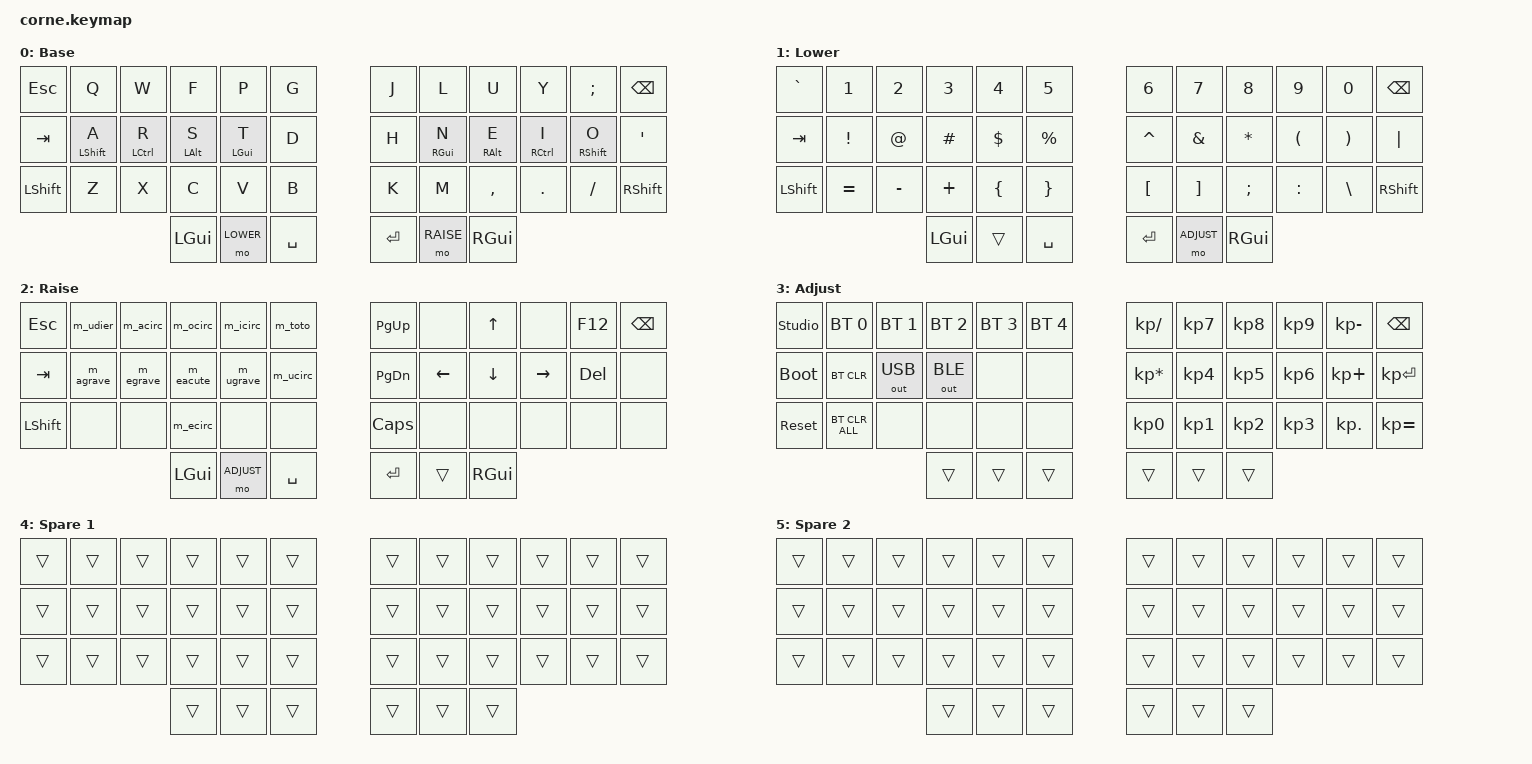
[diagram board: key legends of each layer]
#include <behaviors.dtsi>
#include <dt-bindings/zmk/keys.h>
#include <dt-bindings/zmk/bt.h>
#include <dt-bindings/zmk/outputs.h>

#define DEFAULT 0
#define LOWER   1
#define RAISE   2
#define ADJUST  3

// Positions physiques du Corne (42 touches), utilisees par les home row mods.
#define KEYS_L  0  1  2  3  4  5 12 13 14 15 16 17 24 25 26 27 28 29
#define KEYS_R  6  7  8  9 10 11 18 19 20 21 22 23 30 31 32 33 34 35
#define THUMBS 36 37 38 39 40 41

// Chip select du nice!view : D8, pas D1.
//
// Le shield nice_view_adapter de ZMK suppose que le CS a ete bricole sur
// &pro_micro 1 (D1 = P0.06). Son README le dit et prevoit le cas :
// "If you can't use this pin, you'll need to override the cs-gpios for the
// &nice_view_spi bus (in your zmk-config keymap for example)".
//
// Le PCB Corne de Mechboards le route sur D8 (&pro_micro 8 = P1.04). Leur
// propre config fait exactement cette surcharge
// (MechboardsLTD/zmk-config, branche kits, config/corne.keymap).
//
// Sans elle, le firmware bascule un CS sur une broche qui ne va nulle part :
// le driver ls0xx emet des trames 160x68 parfaites sur SCK et MOSI, la dalle
// n'est jamais selectionnee et les ignore toutes. C'est precisement ce que
// montrait le log -- ls0xx_write en boucle, aucune erreur LVGL, ecran noir --
// et pourquoi un LCD a memoire y gardait les restes du firmware Mechboards.
&nice_view_spi {
    cs-gpios = <&pro_micro 8 GPIO_ACTIVE_HIGH>;
};

/ {
    behaviors {
        // Home row mods. Le maintien ne declenche le modificateur que si la
        // touche suivante est sur l'AUTRE main (ou un pouce) : c'est ce qui
        // evite les faux positifs quand on roule sur A-R-S-T.
        //
        // Attention, cette garantie a une limite : la liste positionnelle
        // n'est consultee que s'il y a une touche suivante AVANT la fin du
        // tapping term. Passe ce delai, le timeout tranche seul, et
        // flavor = "balanced" resout un timeout en hold. Un roulement lent
        // sur une seule main (I-O-N, tous les trois des hmr) declenche donc
        // les modificateurs malgre hold-trigger-key-positions. D'ou 300 ms
        // et non 200 : le tapping term doit couvrir le plus grand ecart
        // entre deux frappes a l'interieur d'un mot.
        hml: home_row_mod_left {
            compatible = "zmk,behavior-hold-tap";
            #binding-cells = <2>;
            flavor = "balanced";
            tapping-term-ms = <300>;
            quick-tap-ms = <175>;
            require-prior-idle-ms = <150>;
            bindings = <&kp>, <&kp>;
            hold-trigger-key-positions = <KEYS_R THUMBS>;
            hold-trigger-on-release;
        };

        hmr: home_row_mod_right {
            compatible = "zmk,behavior-hold-tap";
            #binding-cells = <2>;
            flavor = "balanced";
            tapping-term-ms = <300>;
            quick-tap-ms = <175>;
            require-prior-idle-ms = <150>;
            bindings = <&kp>, <&kp>;
            hold-trigger-key-positions = <KEYS_L THUMBS>;
            hold-trigger-on-release;
        };
    };

    // Macros d'accents : macOS, disposition systeme U.S.
    //
    // Option est pressee dans un rapport HID separe de la lettre : envoyer
    // LA(x) en un seul rapport fait rater la touche morte sous macOS.
    //   Option + E -> aigu         Option + ` -> grave
    //   Option + I -> circonflexe  Option + U -> trema
    //
    // e-aigu utilise l'Option DROITE. C'est le seul accent pose au-dessus d'un
    // home row mod qui porte le meme modificateur (position 15 = &hml LALT S),
    // et c'est le seul qui ne sortait pas. RALT supprime le recouvrement.
    macros {
        m_eacute: m_eacute {      // e aigu     Option DROITE + E puis e
            compatible = "zmk,behavior-macro";
            #binding-cells = <0>;
            wait-ms = <10>;
            tap-ms = <10>;
            bindings = <&macro_press &kp RALT>
                     , <&macro_tap &kp E>
                     , <&macro_release &kp RALT>
                     , <&macro_tap &kp E>;
        };

        m_egrave: m_egrave {      // e grave    Option+` puis e
            compatible = "zmk,behavior-macro";
            #binding-cells = <0>;
            wait-ms = <10>;
            tap-ms = <10>;
            bindings = <&macro_press &kp LALT>
                     , <&macro_tap &kp GRAVE>
                     , <&macro_release &kp LALT>
                     , <&macro_tap &kp E>;
        };

        m_ecirc: m_ecirc {      // e circ     Option+i puis e
            compatible = "zmk,behavior-macro";
            #binding-cells = <0>;
            wait-ms = <10>;
            tap-ms = <10>;
            bindings = <&macro_press &kp LALT>
                     , <&macro_tap &kp I>
                     , <&macro_release &kp LALT>
                     , <&macro_tap &kp E>;
        };

        m_agrave: m_agrave {      // a grave    Option+` puis a
            compatible = "zmk,behavior-macro";
            #binding-cells = <0>;
            wait-ms = <10>;
            tap-ms = <10>;
            bindings = <&macro_press &kp LALT>
                     , <&macro_tap &kp GRAVE>
                     , <&macro_release &kp LALT>
                     , <&macro_tap &kp A>;
        };

        m_acirc: m_acirc {      // a circ     Option+i puis a
            compatible = "zmk,behavior-macro";
            #binding-cells = <0>;
            wait-ms = <10>;
            tap-ms = <10>;
            bindings = <&macro_press &kp LALT>
                     , <&macro_tap &kp I>
                     , <&macro_release &kp LALT>
                     , <&macro_tap &kp A>;
        };

        m_icirc: m_icirc {      // i circ     Option+i puis i
            compatible = "zmk,behavior-macro";
            #binding-cells = <0>;
            wait-ms = <10>;
            tap-ms = <10>;
            bindings = <&macro_press &kp LALT>
                     , <&macro_tap &kp I>
                     , <&macro_release &kp LALT>
                     , <&macro_tap &kp I>;
        };

        m_ocirc: m_ocirc {      // o circ     Option+i puis o
            compatible = "zmk,behavior-macro";
            #binding-cells = <0>;
            wait-ms = <10>;
            tap-ms = <10>;
            bindings = <&macro_press &kp LALT>
                     , <&macro_tap &kp I>
                     , <&macro_release &kp LALT>
                     , <&macro_tap &kp O>;
        };

        m_ugrave: m_ugrave {      // u grave    Option+` puis u
            compatible = "zmk,behavior-macro";
            #binding-cells = <0>;
            wait-ms = <10>;
            tap-ms = <10>;
            bindings = <&macro_press &kp LALT>
                     , <&macro_tap &kp GRAVE>
                     , <&macro_release &kp LALT>
                     , <&macro_tap &kp U>;
        };

        m_ucirc: m_ucirc {      // u circ     Option+i puis u
            compatible = "zmk,behavior-macro";
            #binding-cells = <0>;
            wait-ms = <10>;
            tap-ms = <10>;
            bindings = <&macro_press &kp LALT>
                     , <&macro_tap &kp I>
                     , <&macro_release &kp LALT>
                     , <&macro_tap &kp U>;
        };

        m_udier: m_udier {      // u trema    Option+u puis u
            compatible = "zmk,behavior-macro";
            #binding-cells = <0>;
            wait-ms = <10>;
            tap-ms = <10>;
            bindings = <&macro_press &kp LALT>
                     , <&macro_tap &kp U>
                     , <&macro_release &kp LALT>
                     , <&macro_tap &kp U>;
        };

        m_toto: m_toto {              // totototo42$
            compatible = "zmk,behavior-macro";
            #binding-cells = <0>;
            wait-ms = <10>;
            tap-ms = <10>;
            bindings = <&kp T &kp O &kp T &kp O &kp T &kp O &kp T &kp O
                        &kp N4 &kp N2 &kp LS(N4)>;
        };
    };

    keymap {
        compatible = "zmk,keymap";

        default_layer {
            display-name = "Base";
            //  ---------------------------------------------------------------------------------------
            //  | ESC  |  Q  |  W  |  F  |  P  |  G  |     |  J  |  L  |  U  |  Y  |  ;  | BKSP |
            //  | TAB  |  A  |  R  |  S  |  T  |  D  |     |  H  |  N  |  E  |  I  |  O  |  '   |
            //  | SHFT |  Z  |  X  |  C  |  V  |  B  |     |  K  |  M  |  ,  |  .  |  /  | SHFT |
            //                     | GUI | LWR | SPC |     | ENT | RSE | CMD |
            //  Home row mods :  A=SHFT  R=CTRL  S=ALT  T=GUI    N=GUI  E=ALT  I=CTRL  O=SHFT
            bindings = <
&kp ESC    &kp Q          &kp W          &kp F          &kp P          &kp G          &kp J     &kp L          &kp U          &kp Y          &kp SEMI       &kp BSPC
&kp TAB    &hml LSHFT A   &hml LCTRL R   &hml LALT S    &hml LGUI T    &kp D          &kp H     &hmr RGUI N    &hmr RALT E    &hmr RCTRL I   &hmr RSHFT O   &kp SQT
&kp LSHFT  &kp Z          &kp X          &kp C          &kp V          &kp B          &kp K     &kp M          &kp COMMA      &kp DOT        &kp FSLH       &kp RSHFT
                                         &kp LGUI       &mo LOWER      &kp SPACE      &kp RET   &mo RAISE      &kp RGUI
            >;
        };

        lower_layer {
            display-name = "Lower";
            //  ---------------------------------------------------------------------------------------
            //  |  `   |  1  |  2  |  3  |  4  |  5  |     |  6  |  7  |  8  |  9  |  0  | BKSP |
            //  | TAB  |  !  |  @  |  #  |  $  |  %  |     |  ^  |  &  |  *  |  (  |  )  |  |   |
            //  | SHFT |  =  |  -  |  +  |  {  |  }  |     |  [  |  ]  |  ;  |  :  |  \  | SHFT |
            //                     | GUI |     | SPC |     | ENT | ADJ | ALT |
            bindings = <
&kp GRAVE  &kp N1     &kp N2     &kp N3     &kp N4     &kp N5         &kp N6     &kp N7     &kp N8     &kp N9     &kp N0     &kp BSPC
&kp TAB    &kp EXCL   &kp AT     &kp HASH   &kp DLLR   &kp PRCNT      &kp CARET  &kp AMPS   &kp ASTRK  &kp LPAR   &kp RPAR   &kp PIPE
&kp LSHFT  &kp EQUAL  &kp MINUS  &kp PLUS   &kp LBRC   &kp RBRC       &kp LBKT   &kp RBKT   &kp SEMI   &kp COLON  &kp BSLH   &kp RSHFT
                                 &kp LGUI   &trans     &kp SPACE      &kp RET    &mo ADJUST &kp RGUI
            >;
        };

        raise_layer {
            display-name = "Raise";
            //  ---------------------------------------------------------------------------------------
            //  | ESC  |  u  |  a  |  o  |  i  |TOTO |     | PGUP|     |  UP |     | F12 | BKSP |
            //  | TAB  |  a  |  e  |  e  |  u  |  u  |     | PGDN| LFT | DWN | RGT | DEL |      |
            //  | SHFT |     |     |  e  |     |     |     | CAPS|     |     |     |     |      |
            //                     | GUI | ADJ | SPC |     | ENT |     | ALT |
            bindings = <
&kp ESC    &m_udier   &m_acirc   &m_ocirc   &m_icirc   &m_toto        &kp PG_UP  &none      &kp UP     &none      &kp F12    &kp BSPC
&kp TAB    &m_agrave  &m_egrave  &m_eacute  &m_ugrave  &m_ucirc       &kp PG_DN  &kp LEFT   &kp DOWN   &kp RIGHT  &kp DEL    &none
&kp LSHFT  &none      &none      &m_ecirc   &none      &none          &kp CAPS   &none      &none      &none      &none      &none
                                 &kp LGUI   &mo ADJUST &kp SPACE      &kp RET    &trans     &kp RGUI
            >;
        };

        adjust_layer {
            display-name = "Adjust";
            //  ---------------------------------------------------------------------------------------
            //  | UNLK | BT0 | BT1 | BT2 | BT3 | BT4 |     |  /  |  7  |  8  |  9  |  -  | BKSP |
            //  | BOOT | CLR | USB | BLE |     |     |     |  *  |  4  |  5  |  6  |  +  | KENT |
            //  | RST  |CLRAL|     |     |     |     |     |  0  |  1  |  2  |  3  |  .  |  =   |
            //                     |     |     |     |     |     |     |     |
            bindings = <
&studio_unlock  &bt BT_SEL 0    &bt BT_SEL 1  &bt BT_SEL 2  &bt BT_SEL 3  &bt BT_SEL 4      &kp KP_SLASH     &kp KP_N7  &kp KP_N8  &kp KP_N9  &kp KP_MINUS  &kp BSPC
&bootloader     &bt BT_CLR      &out OUT_USB  &out OUT_BLE  &none         &none             &kp KP_MULTIPLY  &kp KP_N4  &kp KP_N5  &kp KP_N6  &kp KP_PLUS   &kp KP_ENTER
&sys_reset      &bt BT_CLR_ALL  &none         &none         &none         &none             &kp KP_N0        &kp KP_N1  &kp KP_N2  &kp KP_N3  &kp KP_DOT    &kp KP_EQUAL
                                              &trans        &trans        &trans            &trans           &trans     &trans
            >;
        };

        // Couches vides de reserve : elles ne servent a rien telles quelles,
        // mais elles permettent de creer de nouvelles couches depuis ZMK Studio
        // sans avoir a recompiler le firmware.
        spare_1 {
            display-name = "Spare 1";
            bindings = <
&trans  &trans  &trans  &trans  &trans  &trans      &trans  &trans  &trans  &trans  &trans  &trans
&trans  &trans  &trans  &trans  &trans  &trans      &trans  &trans  &trans  &trans  &trans  &trans
&trans  &trans  &trans  &trans  &trans  &trans      &trans  &trans  &trans  &trans  &trans  &trans
                        &trans  &trans  &trans      &trans  &trans  &trans
            >;
        };

        spare_2 {
            display-name = "Spare 2";
            bindings = <
&trans  &trans  &trans  &trans  &trans  &trans      &trans  &trans  &trans  &trans  &trans  &trans
&trans  &trans  &trans  &trans  &trans  &trans      &trans  &trans  &trans  &trans  &trans  &trans
&trans  &trans  &trans  &trans  &trans  &trans      &trans  &trans  &trans  &trans  &trans  &trans
                        &trans  &trans  &trans      &trans  &trans  &trans
            >;
        };
    };
};
